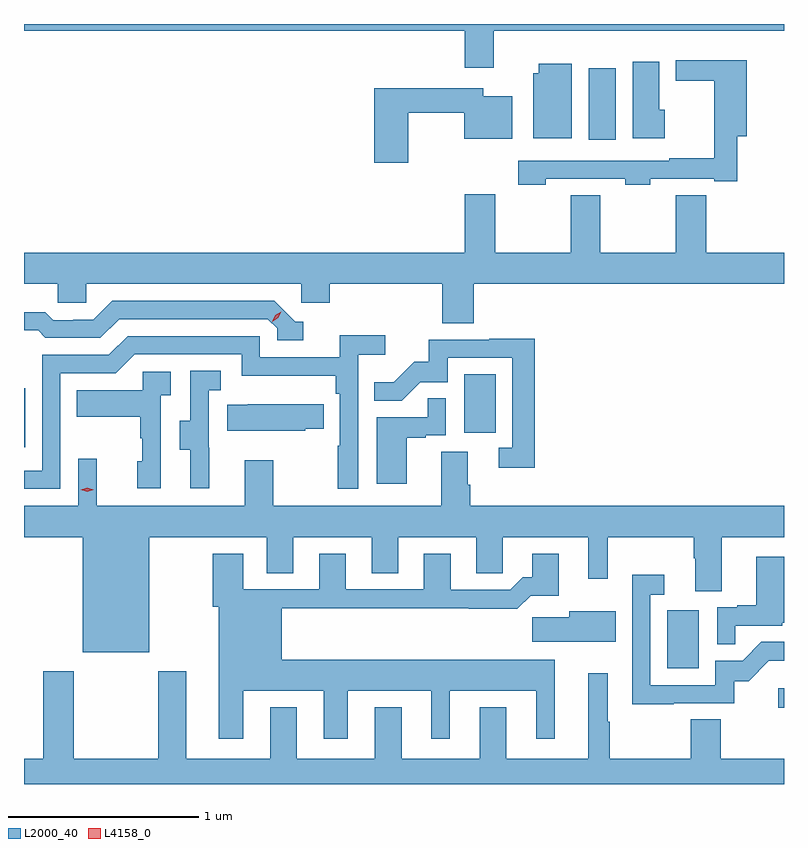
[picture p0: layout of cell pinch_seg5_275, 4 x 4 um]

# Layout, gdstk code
import gdstk
lib = gdstk.Library(unit=1e-6, precision=1e-09)
def R(c, l, rs):  # rectangles x0, y0, x1, y1
    for r in rs: c.add(gdstk.rectangle(r[:2], r[2:], *l))
def P(c, l, *ps):  # polygons
    for p in ps: c.add(gdstk.Polygon(p, *l))
L2000_40 = (2000, 40)
L4158_0 = (4158, 0)

pinch_seg5_275 = lib.new_cell('pinch_seg5_275')
R(pinch_seg5_275, L2000_40, [(914.265,901.15,914.296,901.252), (913.682,901.356,913.846,901.663), (910.296,902.52,910.302,902.83), (912.614,902.598,912.778,902.905), (913.268,904.14,913.411,904.516)])
P(pinch_seg5_275, L2000_40, [(912.769,904.712),(914.296,904.712),(914.296,904.748),(910.296,904.748),(910.296,904.712),(912.617,904.712),(912.617,904.518),(912.769,904.518)],
  [(913.041,903.933),(913.461,903.933),(913.461,903.901),(913.593,903.901),(913.593,903.933),(913.928,903.933),(913.928,903.921),(914.051,903.921),(914.051,904.157),(914.099,904.157),(914.099,904.558),(913.725,904.558),(913.725,904.449),(913.928,904.449),(913.928,904.042),(913.693,904.042),(913.693,904.029),(912.897,904.029),(912.897,903.901),(913.041,903.901)],
  [(913.669,904.296),(913.639,904.296),(913.639,904.549),(913.499,904.549),(913.499,904.148),(913.669,904.148)],
  [(913.18,904.54),(913.004,904.54),(913.004,904.488),(912.977,904.488),(912.977,904.148),(913.18,904.148)],
  [(912.318,904.282),(912.614,904.282),(912.614,904.145),(912.865,904.145),(912.865,904.369),(912.712,904.369),(912.712,904.411),(912.14,904.411),(912.14,904.017),(912.318,904.017)],
  [(912.662,903.38),(914.296,903.38),(914.296,903.544),(913.886,903.544),(913.886,903.848),(913.726,903.848),(913.726,903.544),(913.328,903.544),(913.328,903.848),(913.174,903.848),(913.174,903.544),(912.777,903.544),(912.777,903.853),(912.617,903.853),(912.617,903.544),(910.296,903.544),(910.296,903.38),(910.473,903.38),(910.473,903.282),(910.623,903.282),(910.623,903.38),(911.754,903.38),(911.754,903.282),(911.906,903.282),(911.906,903.38),(912.497,903.38),(912.497,903.172),(912.662,903.172)],
  [(911.767,903.18),(911.724,903.18),(911.613,903.291),(910.76,903.291),(910.661,903.192),(910.554,903.192),(910.554,903.189),(910.451,903.189),(910.409,903.232),(910.296,903.232),(910.296,903.135),(910.37,903.135),(910.409,903.096),(910.698,903.096),(910.797,903.195),(911.58,903.195),(911.628,903.147),(911.628,903.084),(911.767,903.084)],
  [(910.488,902.91),(910.779,902.91),(910.878,903.009),(911.442,903.009),(911.442,902.897),(911.938,902.897),(911.938,902.801),(911.958,902.801),(911.958,902.528),(911.946,902.528),(911.946,902.301),(912.054,902.301),(912.054,903.008),(912.196,903.008),(912.196,903.11),(911.957,903.11),(911.957,902.994),(911.538,902.994),(911.538,903.105),(910.841,903.105),(910.742,903.006),(910.392,903.006),(910.392,902.397),(910.296,902.397),(910.296,902.301),(910.488,902.301)],
  [(912.983,903.092),(912.745,903.092),(912.745,903.087),(912.427,903.087),(912.427,902.97),(912.35,902.97),(912.243,902.863),(912.139,902.863),(912.139,902.764),(912.283,902.764),(912.381,902.862),(912.525,902.862),(912.525,902.991),(912.867,902.991),(912.867,902.517),(912.795,902.517),(912.795,902.412),(912.983,902.412)],
  [(911.27,902.517),(911.268,902.517),(911.268,902.821),(911.332,902.821),(911.332,902.924),(911.172,902.924),(911.172,902.661),(911.117,902.661),(911.117,902.506),(911.171,902.506),(911.171,902.304),(911.27,902.304)],
  [(911.016,902.795),(911.068,902.795),(911.068,902.919),(910.92,902.919),(910.92,902.821),(910.573,902.821),(910.573,902.681),(910.908,902.681),(910.908,902.567),(910.918,902.567),(910.918,902.448),(910.892,902.448),(910.892,902.304),(911.016,902.304)],
  [(912.31,902.571),(912.41,902.571),(912.41,902.583),(912.516,902.583),(912.516,902.777),(912.421,902.777),(912.421,902.679),(912.152,902.679),(912.152,902.328),(912.31,902.328)],
  [(911.775,902.617),(911.873,902.617),(911.873,902.746),(911.473,902.746),(911.473,902.743),(911.365,902.743),(911.365,902.606),(911.775,902.606)],
  [(910.954,902.048),(911.573,902.048),(911.573,901.858),(911.713,901.858),(911.713,902.048),(912.125,902.048),(912.125,901.858),(912.265,901.858),(912.265,902.048),(912.677,902.048),(912.677,901.858),(912.816,901.858),(912.816,902.048),(913.265,902.048),(913.265,901.827),(913.369,901.827),(913.369,902.048),(913.822,902.048),(913.822,901.936),(913.829,901.936),(913.829,901.762),(913.969,901.762),(913.969,902.048),(914.296,902.048),(914.296,902.212),(912.644,902.212),(912.644,902.324),(912.631,902.324),(912.631,902.498),(912.491,902.498),(912.491,902.212),(911.607,902.212),(911.607,902.452),(911.459,902.452),(911.459,902.212),(910.679,902.212),(910.679,902.461),(910.581,902.461),(910.581,902.212),(910.296,902.212),(910.296,902.048),(910.604,902.048),(910.604,901.442),(910.954,901.442)],
  [(911.449,901.238),(911.873,901.238),(911.873,900.987),(912.001,900.987),(912.001,901.238),(912.44,901.238),(912.44,900.987),(912.538,900.987),(912.538,901.238),(912.992,901.238),(912.992,900.987),(913.09,900.987),(913.09,901.402),(911.653,901.402),(911.653,901.672),(912.637,901.672),(912.637,901.67),(912.893,901.67),(912.962,901.739),(913.111,901.739),(913.111,901.96),(912.971,901.96),(912.971,901.837),(912.922,901.837),(912.855,901.77),(912.541,901.77),(912.541,901.96),(912.401,901.96),(912.401,901.773),(911.989,901.773),(911.989,901.96),(911.849,901.96),(911.849,901.773),(911.449,901.773),(911.449,901.96),(911.29,901.96),(911.29,901.68),(911.321,901.68),(911.321,900.987),(911.449,900.987)],
  [(914.039,901.581),(914.286,901.581),(914.286,901.596),(914.296,901.596),(914.296,901.945),(914.15,901.945),(914.15,901.69),(914.051,901.69),(914.051,901.677),(913.944,901.677),(913.944,901.483),(914.039,901.483)],
  [(913.715,901.173),(914.034,901.173),(914.034,901.29),(914.11,901.29),(914.217,901.397),(914.296,901.397),(914.296,901.496),(914.177,901.496),(914.079,901.398),(913.935,901.398),(913.935,901.269),(913.593,901.269),(913.593,901.743),(913.666,901.743),(913.666,901.849),(913.497,901.849),(913.497,901.168),(913.715,901.168)],
  [(913.411,901.657),(913.166,901.657),(913.166,901.625),(912.972,901.625),(912.972,901.496),(913.411,901.496)],
  [(914.296,900.88),(913.964,900.88),(913.964,901.088),(913.804,901.088),(913.804,900.88),(913.379,900.88),(913.379,901.076),(913.369,901.076),(913.369,901.33),(913.265,901.33),(913.265,900.88),(912.835,900.88),(912.835,901.153),(912.695,901.153),(912.695,900.88),(912.283,900.88),(912.283,901.153),(912.143,901.153),(912.143,900.88),(911.731,900.88),(911.731,901.153),(911.591,901.153),(911.591,900.88),(911.149,900.88),(911.149,901.342),(911.002,901.342),(911.002,900.88),(910.557,900.88),(910.557,901.342),(910.397,901.342),(910.397,900.88),(910.296,900.88),(910.296,900.748),(914.296,900.748)])
P(pinch_seg5_275, L4158_0, [(911.602,903.182),(911.602,903.183),(911.619,903.215),(911.649,903.234),(911.65,903.234),(911.65,903.234),(911.633,903.202),(911.603,903.182)],
  [(910.629,902.287),(910.594,902.297),(910.593,902.297),(910.594,902.297),(910.629,902.307),(910.664,902.297),(910.664,902.297),(910.664,902.297)])

lib.write_gds('pinch_seg5_275.gds')
